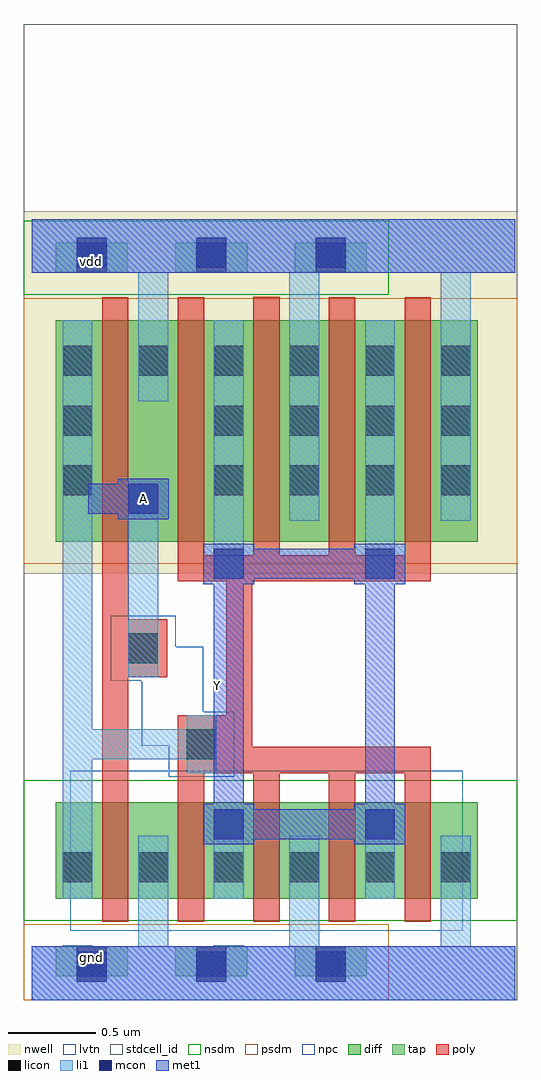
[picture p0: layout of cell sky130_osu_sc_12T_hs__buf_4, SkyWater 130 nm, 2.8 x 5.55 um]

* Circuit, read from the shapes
.subckt sky130_osu_sc_12T_hs__buf_4 A Y gnd vdd
XM1 gnd A n1 gnd sky130_fd_pr__nfet_01v8_lvt w=0.55 l=0.15
XM2 Y n1 gnd gnd sky130_fd_pr__nfet_01v8_lvt w=0.55 l=0.15 m=4
XM3 vdd A n1 vdd sky130_fd_pr__pfet_01v8 w=1.26 l=0.15
XM4 Y n1 vdd vdd sky130_fd_pr__pfet_01v8 w=1.26 l=0.15 m=4
.ends

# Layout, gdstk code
import gdstk
lib = gdstk.Library(unit=1e-6, precision=1e-09)
def R(c, l, rs):  # rectangles x0, y0, x1, y1
    for r in rs: c.add(gdstk.rectangle(r[:2], r[2:], *l))
def A(c, l, x, y, w, h, nx, ny, dx, dy):  # array of equal rectangles
    R(c, l, [(x+i*dx, y+j*dy, x+i*dx+w, y+j*dy+h) for i in range(nx) for j in range(ny)])
nwell = (64, 20)
diff = (65, 20)
tap = (65, 44)
poly = (66, 20)
licon = (66, 44)
li1 = (67, 20)
mcon = (67, 44)
met1 = (68, 20)
stdcell_id = (81, 4)
nsdm = (93, 44)
psdm = (94, 20)
npc = (95, 20)
lvtn = (125, 44)

sky130_osu_sc_12t_hs__bu = lib.new_cell('sky130_osu_sc_12T_hs__buf_4')
R(sky130_osu_sc_12t_hs__bu, nwell, [(-0.045,2.425,2.76,4.485)])
R(sky130_osu_sc_12t_hs__bu, diff, [(0.135,0.575,2.535,1.125), (0.135,2.605,2.535,3.865)])
A(sky130_osu_sc_12t_hs__bu, tap, 0.135, 0.135, 0.41, 0.17, 3, 2, 0.68, 4)
A(sky130_osu_sc_12t_hs__bu, poly, 0.83, 0.445, 0.15, 0.845, 4, 1, 0.43, 0)
R(sky130_osu_sc_12t_hs__bu, poly, [(0.4,0.445,0.55,1.835), (0.83,1.29,2.27,1.44), (0.83,1.44,1.255,1.62), (1.105,1.62,1.255,2.38), (0.4,1.835,0.77,2.165), (0.4,2.165,0.55,3.995), (0.83,2.38,2.27,2.53), (0.83,2.53,0.98,3.995), (1.26,2.53,1.41,4), (1.69,2.53,1.84,3.995), (2.12,2.53,2.27,3.995)])
A(sky130_osu_sc_12t_hs__bu, licon, 0.255, 0.135, 0.17, 0.17, 3, 2, 0.68, 4)
A(sky130_osu_sc_12t_hs__bu, licon, 0.175, 0.67, 0.17, 0.17, 6, 2, 0.43, 2.88)
A(sky130_osu_sc_12t_hs__bu, licon, 1.035, 2.87, 0.17, 0.17, 4, 2, 0.43, 0.34)
R(sky130_osu_sc_12t_hs__bu, licon, [(0.88,1.37,1.05,1.54), (0.55,1.915,0.72,2.085), (0.175,2.87,0.345,3.04), (0.175,3.21,0.345,3.38)])
A(sky130_osu_sc_12t_hs__bu, li1, 0.605, 0.305, 0.17, 0.63, 3, 1, 0.86, 0)
R(sky130_osu_sc_12t_hs__bu, li1, [(0,0,2.75,0.305), (0.175,0.305,0.345,0.31), (1.035,0.305,1.205,0.31), (0.175,0.575,0.345,1.37), (1.035,0.575,1.205,1.085), (1.895,0.575,2.065,1.085), (0.88,1.29,1.05,1.37), (0.175,1.37,1.05,1.54), (0.175,1.54,0.345,3.865), (0.88,1.54,1.05,1.62), (0.55,1.835,0.72,2.935), (1.035,2.395,1.205,3.865), (1.895,2.395,2.065,3.865), (1.465,2.725,1.635,4.135), (2.325,2.725,2.495,4.135), (0.605,3.405,0.775,4.135), (0,4.135,2.75,4.44)])
A(sky130_osu_sc_12t_hs__bu, mcon, 0.255, 0.105, 0.17, 0.17, 3, 2, 0.68, 4.06)
R(sky130_osu_sc_12t_hs__bu, mcon, [(1.035,0.915,1.205,1.085), (1.895,0.915,2.065,1.085), (1.035,2.395,1.205,2.565), (1.895,2.395,2.065,2.565), (0.55,2.765,0.72,2.935)])
R(sky130_osu_sc_12t_hs__bu, met1, [(0,0,2.75,0.305), (0.975,0.885,1.265,0.915), (1.835,0.885,2.125,0.915), (0.975,0.915,2.125,1.085), (0.975,1.085,1.265,1.115), (1.835,1.085,2.125,1.115), (1.035,1.115,1.205,2.365), (1.895,1.115,2.065,2.365), (0.975,2.365,1.265,2.395), (1.835,2.365,2.125,2.395), (0.975,2.395,2.125,2.565), (0.975,2.565,1.265,2.595), (1.835,2.565,2.125,2.595), (0.49,2.735,0.78,2.765), (0.32,2.765,0.78,2.935), (0.49,2.935,0.78,2.965), (0,4.135,2.75,4.44)])
R(sky130_osu_sc_12t_hs__bu, stdcell_id, [(-0.045,0,2.76,5.55)])
R(sky130_osu_sc_12t_hs__bu, nsdm, [(-0.045,0.45,2.76,1.25), (-0.045,4.01,2.03,4.43)])
R(sky130_osu_sc_12t_hs__bu, psdm, [(-0.045,0,2.03,0.43), (-0.045,2.48,2.76,3.99)])
R(sky130_osu_sc_12t_hs__bu, npc, [(0.78,1.27,1.15,1.445), (0.625,1.445,1.15,1.64), (0.625,1.64,0.975,1.815), (0.45,1.815,0.975,2.01), (0.45,2.01,0.82,2.185)])
R(sky130_osu_sc_12t_hs__bu, lvtn, [(0.22,0.395,2.45,1.305)])
sky130_osu_sc_12t_hs__bu.add(gdstk.Label('gnd', (0.34,0.24), layer=68, texttype=16))
sky130_osu_sc_12t_hs__bu.add(gdstk.Label('vdd', (0.34,4.2), layer=68, texttype=16))
sky130_osu_sc_12t_hs__bu.add(gdstk.Label('A', (0.635,2.85), layer=68, texttype=5))
sky130_osu_sc_12t_hs__bu.add(gdstk.Label('Y', (1.055,1.79), layer=68, texttype=5))

lib.write_gds('sky130_osu_sc_12T_hs__buf_4.gds')
